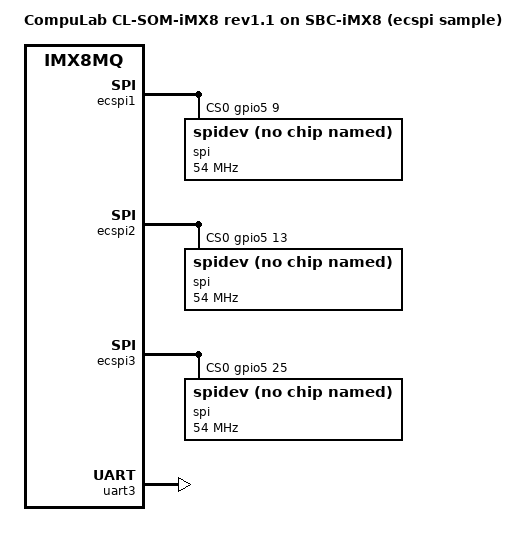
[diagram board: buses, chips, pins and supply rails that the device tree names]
/*
 * Copyright (C) 2018 CopuLab Ltd.
 *
 * This program is free software; you can redistribute it and/or
 * modify it under the terms of the GNU General Public License
 * as published by the Free Software Foundation; either version 2
 * of the License, or (at your option) any later version.
 *
 * This program is distributed in the hope that it will be useful,
 * but WITHOUT ANY WARRANTY; without even the implied warranty of
 * MERCHANTABILITY or FITNESS FOR A PARTICULAR PURPOSE.  See the
 * GNU General Public License for more details.
 */

#include "cl-som-imx8.dts"

/ {
    model = "CompuLab CL-SOM-iMX8 rev1.1 on SBC-iMX8 (ecspi sample)";
    compatible = "compulab,sbc-imx8", "compulab,cl-som-imx8,rev1.1", "compulab,cl-som-imx8", "fsl,imx8mq";

    ecspi1: ecspi@30820000 {
        #address-cells = <1>;
        #size-cells = <0>;
        compatible = "fsl,imx7d-ecspi", "fsl,imx51-ecspi";
        reg = <0 0x30820000 0 0x10000>;
        interrupts = <GIC_SPI 31 IRQ_TYPE_LEVEL_HIGH>;
        clocks = <&clk  IMX8MQ_CLK_ECSPI1_ROOT>,
            <&clk IMX8MQ_CLK_ECSPI1_ROOT>;
        clock-names = "ipg", "per";
        status = "disabled";
    };

    ecspi2: ecspi@30830000 {
        #address-cells = <1>;
        #size-cells = <0>;
        compatible = "fsl,imx7d-ecspi", "fsl,imx51-ecspi";
        reg = <0 0x30830000 0 0x10000>;
        interrupts = <GIC_SPI 32 IRQ_TYPE_LEVEL_HIGH>;
        clocks = <&clk  IMX8MQ_CLK_ECSPI2_ROOT>,
            <&clk IMX8MQ_CLK_ECSPI2_ROOT>;
        clock-names = "ipg", "per";
        status = "disabled";
    };

    ecspi3: ecspi@30840000 {
        #address-cells = <1>;
        #size-cells = <0>;
        compatible = "fsl,imx7d-ecspi", "fsl,imx51-ecspi";
        reg = <0 0x30840000 0 0x10000>;
        interrupts = <GIC_SPI 33 IRQ_TYPE_LEVEL_HIGH>;
        clocks = <&clk  IMX8MQ_CLK_ECSPI3_ROOT>,
            <&clk IMX8MQ_CLK_ECSPI3_ROOT>;
        clock-names = "ipg", "per";
        status = "disabled";
    };
};

&iomuxc {
    cl-som-imx8-ecspi {

        pinctrl_ecspi1_sample: ecspi1_samplegrp {
            fsl,pins = <
                MX8MQ_IOMUXC_ECSPI1_SCLK_ECSPI1_SCLK 	0x82 /* P1.13 */
                MX8MQ_IOMUXC_ECSPI1_MOSI_ECSPI1_MOSI	0x82 /* P1.11 */
                MX8MQ_IOMUXC_ECSPI1_MISO_ECSPI1_MISO	0x82 /* P1.15 */
                MX8MQ_IOMUXC_ECSPI1_SS0_GPIO5_IO9       0x82 /* P1.17 */
            >;
        };

        pinctrl_ecspi2_sample: ecspi2_samplegrp {
            fsl,pins = <
                MX8MQ_IOMUXC_ECSPI2_MOSI_ECSPI2_MOSI    0x82 /* P1.11 */
                MX8MQ_IOMUXC_ECSPI2_MISO_ECSPI2_MISO    0x82 /* P1.15 */
                MX8MQ_IOMUXC_ECSPI2_SCLK_ECSPI2_SCLK    0x82 /* P1.13 */
                MX8MQ_IOMUXC_ECSPI2_SS0_GPIO5_IO13      0x82 /* P1.17 */
            >;
        };

        pinctrl_ecspi3_sample: ecspi3_samplegrp {
            fsl,pins = <
                MX8MQ_IOMUXC_UART1_RXD_ECSPI3_SCLK  0x82 /* P1.69 */
                MX8MQ_IOMUXC_UART1_TXD_ECSPI3_MOSI  0x82 /* P1.65 */
                MX8MQ_IOMUXC_UART2_RXD_ECSPI3_MISO  0x82 /* P1.63 */
                MX8MQ_IOMUXC_UART2_TXD_GPIO5_IO25   0x82 /* P1.58 */
            >;
        };

        pinctrl_uart3_sample: uart3_samplegrp {
            fsl,pins = <
                MX8MQ_IOMUXC_UART3_TXD_UART3_DCE_TX 0x79
                MX8MQ_IOMUXC_UART3_RXD_UART3_DCE_RX 0x79
            >;
        };
    };
};

&uart3 {
	pinctrl-names = "default";
	pinctrl-0 = <&pinctrl_uart3_sample>;
	status = "okay";
};

/*
 * Must be disabled; conflictis with ecspi2.
 */
&uart4 {
	status = "disabled";
};

/* Rev 1.1 only */
&ecspi1 {
    pinctrl-names = "default";
    pinctrl-0 = <&pinctrl_ecspi1_sample>;
    fsl,spi-num-chipselects = <1>;
    cs-gpios = <&gpio5 9 0>;
    status = "okay";
    spi@0 {
        compatible = "spidev", "rohm,dh2228fv";
        reg = <0>;
        spi-max-frequency = <54000000>;
    };
};

/* Rev 1.0 w/out WB only */
&ecspi2 {
    pinctrl-names = "default";
    pinctrl-0 = <&pinctrl_ecspi2_sample>;
    fsl,spi-num-chipselects = <1>;
    cs-gpios = <&gpio5 13 0>;
    status = "okay";
    spi@0 {
        compatible = "spidev", "rohm,dh2228fv";
        reg = <0>;
        spi-max-frequency = <54000000>;
    };
};

&ecspi3 {
    pinctrl-names = "default";
    pinctrl-0 = <&pinctrl_ecspi3_sample>;
    fsl,spi-num-chipselects = <1>;
    cs-gpios = <&gpio5 25 0>;
    status = "okay";
    spi@0 {
        compatible = "spidev", "rohm,dh2228fv";
        reg = <0>;
        spi-max-frequency = <54000000>;
    };
};
